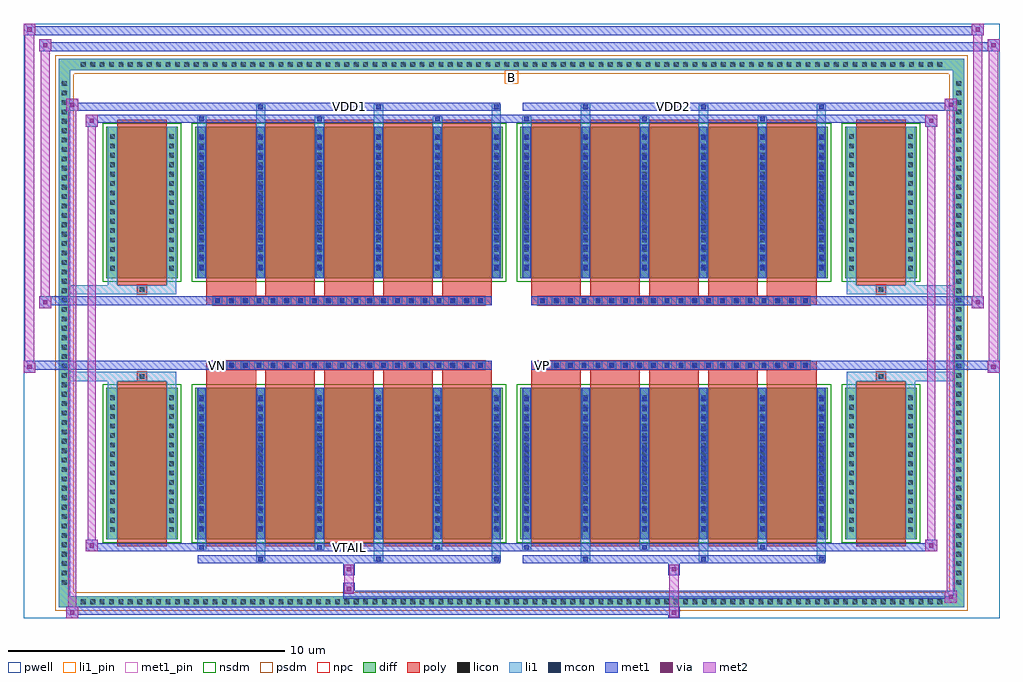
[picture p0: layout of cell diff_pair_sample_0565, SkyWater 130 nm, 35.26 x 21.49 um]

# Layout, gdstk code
import gdstk
lib = gdstk.Library(unit=1e-6, precision=5e-09)
def R(c, l, rs):  # rectangles x0, y0, x1, y1
    for r in rs: c.add(gdstk.rectangle(r[:2], r[2:], *l))
def A(c, l, x, y, w, h, nx, ny, dx, dy):  # array of equal rectangles
    R(c, l, [(x+i*dx, y+j*dy, x+i*dx+w, y+j*dy+h) for i in range(nx) for j in range(ny)])
def P(c, l, *ps):  # polygons
    for p in ps: c.add(gdstk.Polygon(p, *l))
pwell = (64, 44)
diff = (65, 20)
poly = (66, 20)
licon = (66, 44)
li1_pin = (67, 16)
li1 = (67, 20)
mcon = (67, 44)
met1_pin = (68, 16)
met1 = (68, 20)
via = (68, 44)
met2 = (69, 20)
nsdm = (93, 44)
psdm = (94, 20)
npc = (95, 20)

diff_pair_sample_0565 = lib.new_cell('diff_pair_sample_0565')
R(diff_pair_sample_0565, pwell, [(-17.63,-10.31,17.63,11.18), (-14.95,-8.5,-0.01,-0.8), (0.01,-8.5,14.95,-0.8), (-14.95,0.8,-0.01,8.5), (0.01,0.8,14.95,8.5)])
A(diff_pair_sample_0565, diff, -15.675, -9.91, 0.41, 0.41, 92, 2, 0.34, 19.41)
A(diff_pair_sample_0565, diff, -16.36, -9.215, 0.41, 0.41, 1, 54, 0, 0.34)
A(diff_pair_sample_0565, diff, 15.95, -9.215, 0.41, 0.41, 1, 54, 0, 0.34)
R(diff_pair_sample_0565, diff, [(-15.675,-9.91,15.675,-9.5), (-16.36,-9.215,-15.95,9.215), (15.95,-9.215,16.36,9.215), (-14.64,-7.455,-12.06,-1.985), (-11.42,-7.455,-0.32,-1.985), (0.32,-7.455,11.42,-1.985), (12.06,-7.455,14.64,-1.985), (-14.64,1.985,-12.06,7.455), (-11.42,1.985,-0.32,7.455), (0.32,1.985,11.42,7.455), (12.06,1.985,14.64,7.455), (-15.675,9.5,15.675,9.91)])
P(diff_pair_sample_0565, diff, [(16.36,9.91),(-16.36,9.91),(-16.36,-9.5),(-15.95,-9.5),(-15.95,9.5),(15.95,9.5),(15.95,-9.5),(-15.95,-9.5),(-16.36,-9.5),(-16.36,-9.91),(16.36,-9.91)])
A(diff_pair_sample_0565, poly, -11.03, -7.705, 1.8, 5.97, 5, 2, 2.13, 9.44)
A(diff_pair_sample_0565, poly, 0.71, -7.705, 1.8, 5.97, 5, 2, 2.13, 9.44)
A(diff_pair_sample_0565, poly, -11.03, -1.735, 1.8, 0.405, 5, 2, 2.13, 3.065)
A(diff_pair_sample_0565, poly, 0.71, -1.735, 1.8, 0.405, 5, 2, 2.13, 3.065)
A(diff_pair_sample_0565, poly, -10.785, -1.33, 0.33, 0.33, 20, 2, 0.5, 2.33)
A(diff_pair_sample_0565, poly, 0.955, -1.33, 0.33, 0.33, 20, 2, 0.5, 2.33)
R(diff_pair_sample_0565, poly, [(-14.25,-7.705,-12.45,-1.735), (12.45,-7.705,14.25,-1.735), (-13.515,-1.735,-13.185,-1.405), (-13.515,-1.735,-13.185,-1.405), (13.185,-1.735,13.515,-1.405), (13.185,-1.735,13.515,-1.405), (-11.03,-1.33,-0.71,-1), (0.71,-1.33,11.03,-1), (-11.03,1,-0.71,1.33), (0.71,1,11.03,1.33), (-13.515,1.405,-13.185,1.735), (-13.515,1.405,-13.185,1.735), (13.185,1.405,13.515,1.735), (13.185,1.405,13.515,1.735), (-14.25,1.735,-12.45,7.705), (12.45,1.735,14.25,7.705)])
A(diff_pair_sample_0565, licon, -15.555, -9.79, 0.17, 0.17, 92, 2, 0.34, 19.41)
A(diff_pair_sample_0565, licon, -16.24, -9.095, 0.17, 0.17, 1, 54, 0, 0.34)
A(diff_pair_sample_0565, licon, 16.07, -9.095, 0.17, 0.17, 1, 54, 0, 0.34)
A(diff_pair_sample_0565, licon, -14.5, -7.185, 0.17, 0.17, 1, 15, 0, 0.34)
A(diff_pair_sample_0565, licon, -12.37, -7.185, 0.17, 0.17, 1, 15, 0, 0.34)
A(diff_pair_sample_0565, licon, -11.28, -7.185, 0.17, 0.17, 6, 15, 2.13, 0.34)
A(diff_pair_sample_0565, licon, 0.46, -7.185, 0.17, 0.17, 6, 15, 2.13, 0.34)
A(diff_pair_sample_0565, licon, 12.2, -7.185, 0.17, 0.17, 1, 15, 0, 0.34)
A(diff_pair_sample_0565, licon, 14.33, -7.185, 0.17, 0.17, 1, 15, 0, 0.34)
A(diff_pair_sample_0565, licon, -10.705, -1.25, 0.17, 0.17, 20, 2, 0.5, 2.33)
A(diff_pair_sample_0565, licon, 1.035, -1.25, 0.17, 0.17, 20, 2, 0.5, 2.33)
A(diff_pair_sample_0565, licon, -14.5, 2.255, 0.17, 0.17, 1, 15, 0, 0.34)
A(diff_pair_sample_0565, licon, -12.37, 2.255, 0.17, 0.17, 1, 15, 0, 0.34)
A(diff_pair_sample_0565, licon, -11.28, 2.255, 0.17, 0.17, 6, 15, 2.13, 0.34)
A(diff_pair_sample_0565, licon, 0.46, 2.255, 0.17, 0.17, 6, 15, 2.13, 0.34)
A(diff_pair_sample_0565, licon, 12.2, 2.255, 0.17, 0.17, 1, 15, 0, 0.34)
A(diff_pair_sample_0565, licon, 14.33, 2.255, 0.17, 0.17, 1, 15, 0, 0.34)
R(diff_pair_sample_0565, licon, [(-13.435,-1.655,-13.265,-1.485), (13.265,-1.655,13.435,-1.485), (-13.435,1.485,-13.265,1.655), (13.265,1.485,13.435,1.655)])
R(diff_pair_sample_0565, li1_pin, [(-0.25,9,0.25,9.5)])
A(diff_pair_sample_0565, li1, -15.635, -9.87, 0.33, 0.33, 92, 2, 0.34, 19.41)
A(diff_pair_sample_0565, li1, -16.32, -9.175, 0.33, 0.33, 1, 54, 0, 0.34)
A(diff_pair_sample_0565, li1, 15.99, -9.175, 0.33, 0.33, 1, 54, 0, 0.34)
A(diff_pair_sample_0565, li1, -9.23, -8.26, 0.33, 0.805, 3, 2, 4.26, 15.715)
A(diff_pair_sample_0565, li1, -9.15, -8.26, 0.17, 0.17, 3, 2, 4.26, 16.35)
A(diff_pair_sample_0565, li1, 2.51, -8.26, 0.33, 0.805, 3, 2, 4.26, 15.715)
A(diff_pair_sample_0565, li1, 2.59, -8.26, 0.17, 0.17, 3, 2, 4.26, 16.35)
A(diff_pair_sample_0565, li1, -11.36, -7.83, 0.33, 0.375, 3, 2, 4.26, 15.285)
A(diff_pair_sample_0565, li1, -11.28, -7.83, 0.17, 0.17, 3, 2, 4.26, 15.49)
A(diff_pair_sample_0565, li1, 0.38, -7.83, 0.33, 0.375, 3, 2, 4.26, 15.285)
A(diff_pair_sample_0565, li1, 0.46, -7.83, 0.17, 0.17, 3, 2, 4.26, 15.49)
A(diff_pair_sample_0565, li1, -11.36, -7.455, 0.33, 5.47, 6, 2, 2.13, 9.44)
A(diff_pair_sample_0565, li1, 0.38, -7.455, 0.33, 5.47, 6, 2, 2.13, 9.44)
A(diff_pair_sample_0565, li1, -14.58, -7.265, 0.33, 0.33, 1, 15, 0, 0.34)
A(diff_pair_sample_0565, li1, -12.45, -7.265, 0.33, 0.33, 1, 15, 0, 0.34)
A(diff_pair_sample_0565, li1, -11.36, -7.265, 0.33, 0.33, 6, 15, 2.13, 0.34)
A(diff_pair_sample_0565, li1, 0.38, -7.265, 0.33, 0.33, 6, 15, 2.13, 0.34)
A(diff_pair_sample_0565, li1, 12.12, -7.265, 0.33, 0.33, 1, 15, 0, 0.34)
A(diff_pair_sample_0565, li1, 14.25, -7.265, 0.33, 0.33, 1, 15, 0, 0.34)
A(diff_pair_sample_0565, li1, -11.28, -7.145, 0.17, 0.17, 6, 14, 2.13, 0.36)
A(diff_pair_sample_0565, li1, -11.28, -7.145, 0.17, 4.85, 6, 2, 2.13, 9.44)
A(diff_pair_sample_0565, li1, 0.46, -7.145, 0.17, 0.17, 6, 14, 2.13, 0.36)
A(diff_pair_sample_0565, li1, 0.46, -7.145, 0.17, 4.85, 6, 2, 2.13, 9.44)
A(diff_pair_sample_0565, li1, -10.785, -1.33, 0.33, 0.33, 20, 2, 0.5, 2.33)
A(diff_pair_sample_0565, li1, 0.955, -1.33, 0.33, 0.33, 20, 2, 0.5, 2.33)
A(diff_pair_sample_0565, li1, -14.58, 2.175, 0.33, 0.33, 1, 15, 0, 0.34)
A(diff_pair_sample_0565, li1, -12.45, 2.175, 0.33, 0.33, 1, 15, 0, 0.34)
A(diff_pair_sample_0565, li1, -11.36, 2.175, 0.33, 0.33, 6, 15, 2.13, 0.34)
A(diff_pair_sample_0565, li1, 0.38, 2.175, 0.33, 0.33, 6, 15, 2.13, 0.34)
A(diff_pair_sample_0565, li1, 12.12, 2.175, 0.33, 0.33, 1, 15, 0, 0.34)
A(diff_pair_sample_0565, li1, 14.25, 2.175, 0.33, 0.33, 1, 15, 0, 0.34)
A(diff_pair_sample_0565, li1, -11.28, 2.295, 0.17, 0.17, 6, 14, 2.13, 0.36)
A(diff_pair_sample_0565, li1, 0.46, 2.295, 0.17, 0.17, 6, 14, 2.13, 0.36)
R(diff_pair_sample_0565, li1, [(-16.36,-9.91,-15.95,-9.5), (-16.36,-9.91,-15.95,-9.5), (-15.95,-9.91,15.95,-9.5), (15.95,-9.91,16.36,-9.5), (15.95,-9.91,16.36,-9.5), (-16.36,-9.5,-15.95,9.5), (15.95,-9.5,16.36,9.5), (-14.58,-7.455,-14.25,-1.985), (-12.45,-7.455,-12.12,-1.985), (12.12,-7.455,12.45,-1.985), (14.25,-7.455,14.58,-1.985), (-14.58,-1.985,-14.25,-1.405), (-12.45,-1.985,-12.12,-1.405), (12.12,-1.985,12.45,-1.405), (14.25,-1.985,14.58,-1.405), (-16.36,-1.735,-13.515,-1.405), (-14.58,-1.735,-13.515,-1.405), (-13.515,-1.735,-13.185,-1.405), (-13.185,-1.735,-12.12,-1.405), (12.12,-1.735,13.185,-1.405), (13.185,-1.735,13.515,-1.405), (13.185,-1.735,16.36,-1.405), (13.515,-1.735,14.58,-1.405), (-16.36,1.405,-13.515,1.735), (-14.58,1.405,-13.515,1.735), (-14.58,1.405,-14.25,1.985), (-13.515,1.405,-13.185,1.735), (-13.185,1.405,-12.12,1.735), (-12.45,1.405,-12.12,1.985), (12.12,1.405,13.185,1.735), (12.12,1.405,12.45,1.985), (13.185,1.405,13.515,1.735), (13.185,1.405,16.36,1.735), (13.515,1.405,14.58,1.735), (14.25,1.405,14.58,1.985), (-14.58,1.985,-14.25,7.455), (-12.45,1.985,-12.12,7.455), (12.12,1.985,12.45,7.455), (14.25,1.985,14.58,7.455), (-16.36,9.5,-15.95,9.91), (-16.36,9.5,-15.95,9.91), (-15.95,9.5,15.95,9.91), (15.95,9.5,16.36,9.91), (15.95,9.5,16.36,9.91)])
A(diff_pair_sample_0565, mcon, -9.15, -8.26, 0.17, 0.17, 3, 2, 4.26, 16.35)
A(diff_pair_sample_0565, mcon, 2.59, -8.26, 0.17, 0.17, 3, 2, 4.26, 16.35)
A(diff_pair_sample_0565, mcon, -11.28, -7.83, 0.17, 0.17, 3, 2, 4.26, 15.49)
A(diff_pair_sample_0565, mcon, 0.46, -7.83, 0.17, 0.17, 3, 2, 4.26, 15.49)
A(diff_pair_sample_0565, mcon, -11.28, -7.145, 0.17, 0.17, 6, 14, 2.13, 0.36)
A(diff_pair_sample_0565, mcon, 0.46, -7.145, 0.17, 0.17, 6, 14, 2.13, 0.36)
A(diff_pair_sample_0565, mcon, -10.705, -1.25, 0.17, 0.17, 20, 2, 0.5, 2.33)
A(diff_pair_sample_0565, mcon, 1.035, -1.25, 0.17, 0.17, 20, 2, 0.5, 2.33)
A(diff_pair_sample_0565, mcon, -11.28, 2.295, 0.17, 0.17, 6, 14, 2.13, 0.36)
A(diff_pair_sample_0565, mcon, 0.46, 2.295, 0.17, 0.17, 6, 14, 2.13, 0.36)
R(diff_pair_sample_0565, met1_pin, [(-6.005,-7.87,-5.735,-7.6), (-10.755,-1.29,-10.485,-1.02), (0.985,-1.29,1.255,-1.02), (-6.005,8.05,-5.735,8.32), (5.735,8.05,6.005,8.32)])
A(diff_pair_sample_0565, met1, -9.21, -8.32, 0.29, 0.29, 3, 2, 4.26, 16.35)
A(diff_pair_sample_0565, met1, 2.53, -8.32, 0.29, 0.29, 3, 2, 4.26, 16.35)
A(diff_pair_sample_0565, met1, -11.34, -7.89, 0.29, 0.29, 3, 2, 4.26, 15.49)
A(diff_pair_sample_0565, met1, 0.4, -7.89, 0.29, 0.29, 3, 2, 4.26, 15.49)
A(diff_pair_sample_0565, met1, -11.34, -7.455, 0.29, 5.47, 6, 2, 2.13, 9.44)
A(diff_pair_sample_0565, met1, 0.4, -7.455, 0.29, 5.47, 6, 2, 2.13, 9.44)
A(diff_pair_sample_0565, met1, -11.34, -7.205, 0.29, 0.29, 6, 14, 2.13, 0.36)
A(diff_pair_sample_0565, met1, 0.4, -7.205, 0.29, 0.29, 6, 14, 2.13, 0.36)
A(diff_pair_sample_0565, met1, -10.765, -1.31, 0.29, 0.29, 20, 2, 0.5, 2.33)
A(diff_pair_sample_0565, met1, 0.975, -1.31, 0.29, 0.29, 20, 2, 0.5, 2.33)
A(diff_pair_sample_0565, met1, -11.34, 2.235, 0.29, 0.29, 6, 14, 2.13, 0.36)
A(diff_pair_sample_0565, met1, 0.4, 2.235, 0.29, 0.29, 6, 14, 2.13, 0.36)
R(diff_pair_sample_0565, met1, [(-16.09,-10.31,-15.66,-9.88), (5.655,-10.31,6.085,-9.88), (-16.09,-10.17,6.085,-9.88), (15.66,-9.74,16.09,-9.31), (-6.085,-9.6,16.09,-9.31), (-6.085,-9.46,-5.655,-9.03), (-6.085,-8.75,-5.655,-8.32), (5.655,-8.75,6.085,-8.32), (-11.34,-8.32,-0.4,-8.03), (0.4,-8.32,11.34,-8.03), (-15.38,-7.89,-14.95,-7.46), (-15.38,-7.89,-11.34,-7.6), (-11.34,-7.89,-0.4,-7.6), (-0.4,-7.89,0.4,-7.6), (0.4,-7.89,11.34,-7.6), (11.34,-7.89,15.38,-7.6), (14.95,-7.89,15.38,-7.46), (-17.63,-1.43,-17.2,-1), (17.2,-1.43,17.63,-1), (-17.63,-1.33,-0.71,-1), (-11.03,-1.33,-0.71,-1), (0.71,-1.33,11.03,-1), (0.71,-1.33,17.63,-1), (-17.06,0.9,-16.63,1.33), (16.63,0.9,17.06,1.33), (-17.06,1,-11.03,1.33), (-11.03,1,-0.71,1.33), (0.71,1,11.03,1.33), (11.03,1,17.06,1.33), (-15.38,7.46,-14.95,7.89), (14.95,7.46,15.38,7.89), (-15.38,7.6,-11.34,7.89), (-11.34,7.6,-0.4,7.89), (-0.4,7.6,0.4,7.89), (0.4,7.6,11.34,7.89), (11.34,7.6,15.38,7.89), (-16.09,8.03,-15.66,8.46), (-16.09,8.03,-11.34,8.32), (-11.34,8.03,-0.4,8.32), (0.4,8.03,11.34,8.32), (11.34,8.03,16.09,8.32), (15.66,8.03,16.09,8.46), (-17.06,10.18,-16.63,10.61), (-17.06,10.18,-14.95,10.51), (-14.95,10.18,14.95,10.51), (14.95,10.18,17.63,10.51), (17.2,10.18,17.63,10.61), (-17.63,10.75,-17.2,11.18), (-17.63,10.75,-14.95,11.08), (-14.95,10.75,14.95,11.08), (14.95,10.75,17.06,11.08), (16.63,10.75,17.06,11.18)])
R(diff_pair_sample_0565, via, [(-15.95,-10.17,-15.8,-10.02), (5.795,-10.17,5.945,-10.02), (15.8,-9.6,15.95,-9.45), (-5.945,-9.32,-5.795,-9.17), (-5.945,-8.61,-5.795,-8.46), (5.795,-8.61,5.945,-8.46), (-15.24,-7.75,-15.09,-7.6), (15.09,-7.75,15.24,-7.6), (-17.49,-1.29,-17.34,-1.14), (17.34,-1.29,17.49,-1.14), (-16.92,1.04,-16.77,1.19), (16.77,1.04,16.92,1.19), (-15.24,7.6,-15.09,7.75), (15.09,7.6,15.24,7.75), (-15.95,8.17,-15.8,8.32), (15.8,8.17,15.95,8.32), (-16.92,10.32,-16.77,10.47), (17.34,10.32,17.49,10.47), (-17.49,10.89,-17.34,11.04), (16.77,10.89,16.92,11.04)])
R(diff_pair_sample_0565, met2, [(-16.09,-10.31,-15.66,-9.88), (-16.02,-10.31,-15.73,8.46), (-15.73,-10.31,-15.66,-9.88), (-16.04,-10.26,-15.71,-9.93), (5.705,-10.26,6.035,-9.93), (5.705,-9.93,6.035,-8.7), (15.66,-9.74,16.09,-9.31), (15.73,-9.74,16.02,8.46), (16.02,-9.74,16.09,-9.31), (15.71,-9.69,16.04,-9.36), (-6.035,-9.41,-5.705,-9.08), (-6.035,-9.08,-5.705,-8.7), (-6.035,-8.7,-5.705,-8.37), (5.705,-8.7,6.035,-8.37), (-15.38,-7.89,-14.95,-7.46), (-15.31,-7.89,-15.02,7.89), (-15.02,-7.89,-14.95,-7.46), (14.95,-7.89,15.38,-7.46), (15.02,-7.89,15.31,7.89), (15.31,-7.89,15.38,-7.46), (-15.33,-7.84,-15,-7.51), (15,-7.84,15.33,-7.51), (-17.63,-1.43,-17.2,-1), (-17.58,-1.43,-17.25,11.18), (-17.25,-1.43,-17.2,-1), (17.2,-1.43,17.63,-1), (17.25,-1.43,17.58,10.61), (17.58,-1.43,17.63,-1), (-17.58,-1.38,-17.25,-1.05), (17.25,-1.38,17.58,-1.05), (-17.06,0.9,-16.63,1.33), (-17.01,0.9,-16.68,10.61), (-16.68,0.9,-16.63,1.33), (16.63,0.9,17.06,1.33), (16.68,0.9,17.01,11.18), (17.01,0.9,17.06,1.33), (-17.01,0.95,-16.68,1.28), (16.68,0.95,17.01,1.28), (-15.38,7.46,-14.95,7.89), (-15.02,7.46,-14.95,7.89), (14.95,7.46,15.38,7.89), (15.31,7.46,15.38,7.89), (-15.33,7.51,-15,7.84), (15,7.51,15.33,7.84), (-16.09,8.03,-15.66,8.46), (-15.73,8.03,-15.66,8.46), (15.66,8.03,16.09,8.46), (16.02,8.03,16.09,8.46), (-16.04,8.08,-15.71,8.41), (15.71,8.08,16.04,8.41), (-17.06,10.18,-16.63,10.61), (-16.68,10.18,-16.63,10.61), (17.2,10.18,17.63,10.61), (17.58,10.18,17.63,10.61), (-17.01,10.23,-16.68,10.56), (17.25,10.23,17.58,10.56), (-17.63,10.75,-17.2,11.18), (-17.25,10.75,-17.2,11.18), (16.63,10.75,17.06,11.18), (17.01,10.75,17.06,11.18), (-17.58,10.8,-17.25,11.13), (16.68,10.8,17.01,11.13)])
R(diff_pair_sample_0565, nsdm, [(-14.77,-7.585,-11.93,-1.855), (-11.55,-7.585,-0.19,-1.855), (0.19,-7.585,11.55,-1.855), (11.93,-7.585,14.77,-1.855), (-14.77,1.855,-11.93,7.585), (-11.55,1.855,-0.19,7.585), (0.19,1.855,11.55,7.585), (11.93,1.855,14.77,7.585)])
P(diff_pair_sample_0565, psdm, [(16.49,10.04),(-16.49,10.04),(-16.49,-9.37),(-15.82,-9.37),(-15.82,9.37),(15.82,9.37),(15.82,-9.37),(-15.82,-9.37),(-16.49,-9.37),(-16.49,-10.04),(16.49,-10.04)])
A(diff_pair_sample_0565, npc, -10.805, -1.35, 0.37, 0.37, 20, 2, 0.5, 2.33)
A(diff_pair_sample_0565, npc, 0.935, -1.35, 0.37, 0.37, 20, 2, 0.5, 2.33)
R(diff_pair_sample_0565, npc, [(-13.535,-1.755,-13.165,-1.385), (13.165,-1.755,13.535,-1.385), (-10.805,-1.35,-9.935,-0.98), (-10.805,-1.35,-9.935,-0.98), (-10.305,-1.35,-9.435,-0.98), (-10.305,-1.35,-9.435,-0.98), (-9.805,-1.35,-8.935,-0.98), (-9.805,-1.35,-8.935,-0.98), (-9.305,-1.35,-8.435,-0.98), (-9.305,-1.35,-8.435,-0.98), (-8.805,-1.35,-7.935,-0.98), (-8.805,-1.35,-7.935,-0.98), (-8.305,-1.35,-7.435,-0.98), (-8.305,-1.35,-7.435,-0.98), (-7.805,-1.35,-6.935,-0.98), (-7.805,-1.35,-6.935,-0.98), (-7.305,-1.35,-6.435,-0.98), (-7.305,-1.35,-6.435,-0.98), (-6.805,-1.35,-5.935,-0.98), (-6.805,-1.35,-5.935,-0.98), (-6.305,-1.35,-5.435,-0.98), (-6.305,-1.35,-5.435,-0.98), (-5.805,-1.35,-4.935,-0.98), (-5.805,-1.35,-4.935,-0.98), (-5.305,-1.35,-4.435,-0.98), (-5.305,-1.35,-4.435,-0.98), (-4.805,-1.35,-3.935,-0.98), (-4.805,-1.35,-3.935,-0.98), (-4.305,-1.35,-3.435,-0.98), (-4.305,-1.35,-3.435,-0.98), (-3.805,-1.35,-2.935,-0.98), (-3.805,-1.35,-2.935,-0.98), (-3.305,-1.35,-2.435,-0.98), (-3.305,-1.35,-2.435,-0.98), (-2.805,-1.35,-1.935,-0.98), (-2.805,-1.35,-1.935,-0.98), (-2.305,-1.35,-1.435,-0.98), (-2.305,-1.35,-1.435,-0.98), (-1.805,-1.35,-0.935,-0.98), (-1.805,-1.35,-0.935,-0.98), (0.935,-1.35,1.805,-0.98), (0.935,-1.35,1.805,-0.98), (1.435,-1.35,2.305,-0.98), (1.435,-1.35,2.305,-0.98), (1.935,-1.35,2.805,-0.98), (1.935,-1.35,2.805,-0.98), (2.435,-1.35,3.305,-0.98), (2.435,-1.35,3.305,-0.98), (2.935,-1.35,3.805,-0.98), (2.935,-1.35,3.805,-0.98), (3.435,-1.35,4.305,-0.98), (3.435,-1.35,4.305,-0.98), (3.935,-1.35,4.805,-0.98), (3.935,-1.35,4.805,-0.98), (4.435,-1.35,5.305,-0.98), (4.435,-1.35,5.305,-0.98), (4.935,-1.35,5.805,-0.98), (4.935,-1.35,5.805,-0.98), (5.435,-1.35,6.305,-0.98), (5.435,-1.35,6.305,-0.98), (5.935,-1.35,6.805,-0.98), (5.935,-1.35,6.805,-0.98), (6.435,-1.35,7.305,-0.98), (6.435,-1.35,7.305,-0.98), (6.935,-1.35,7.805,-0.98), (6.935,-1.35,7.805,-0.98), (7.435,-1.35,8.305,-0.98), (7.435,-1.35,8.305,-0.98), (7.935,-1.35,8.805,-0.98), (7.935,-1.35,8.805,-0.98), (8.435,-1.35,9.305,-0.98), (8.435,-1.35,9.305,-0.98), (8.935,-1.35,9.805,-0.98), (8.935,-1.35,9.805,-0.98), (9.435,-1.35,10.305,-0.98), (9.435,-1.35,10.305,-0.98), (9.935,-1.35,10.805,-0.98), (9.935,-1.35,10.805,-0.98), (-10.805,0.98,-9.935,1.35), (-10.805,0.98,-9.935,1.35), (-10.305,0.98,-9.435,1.35), (-10.305,0.98,-9.435,1.35), (-9.805,0.98,-8.935,1.35), (-9.805,0.98,-8.935,1.35), (-9.305,0.98,-8.435,1.35), (-9.305,0.98,-8.435,1.35), (-8.805,0.98,-7.935,1.35), (-8.805,0.98,-7.935,1.35), (-8.305,0.98,-7.435,1.35), (-8.305,0.98,-7.435,1.35), (-7.805,0.98,-6.935,1.35), (-7.805,0.98,-6.935,1.35), (-7.305,0.98,-6.435,1.35), (-7.305,0.98,-6.435,1.35), (-6.805,0.98,-5.935,1.35), (-6.805,0.98,-5.935,1.35), (-6.305,0.98,-5.435,1.35), (-6.305,0.98,-5.435,1.35), (-5.805,0.98,-4.935,1.35), (-5.805,0.98,-4.935,1.35), (-5.305,0.98,-4.435,1.35), (-5.305,0.98,-4.435,1.35), (-4.805,0.98,-3.935,1.35), (-4.805,0.98,-3.935,1.35), (-4.305,0.98,-3.435,1.35), (-4.305,0.98,-3.435,1.35), (-3.805,0.98,-2.935,1.35), (-3.805,0.98,-2.935,1.35), (-3.305,0.98,-2.435,1.35), (-3.305,0.98,-2.435,1.35), (-2.805,0.98,-1.935,1.35), (-2.805,0.98,-1.935,1.35), (-2.305,0.98,-1.435,1.35), (-2.305,0.98,-1.435,1.35), (-1.805,0.98,-0.935,1.35), (-1.805,0.98,-0.935,1.35), (0.935,0.98,1.805,1.35), (0.935,0.98,1.805,1.35), (1.435,0.98,2.305,1.35), (1.435,0.98,2.305,1.35), (1.935,0.98,2.805,1.35), (1.935,0.98,2.805,1.35), (2.435,0.98,3.305,1.35), (2.435,0.98,3.305,1.35), (2.935,0.98,3.805,1.35), (2.935,0.98,3.805,1.35), (3.435,0.98,4.305,1.35), (3.435,0.98,4.305,1.35), (3.935,0.98,4.805,1.35), (3.935,0.98,4.805,1.35), (4.435,0.98,5.305,1.35), (4.435,0.98,5.305,1.35), (4.935,0.98,5.805,1.35), (4.935,0.98,5.805,1.35), (5.435,0.98,6.305,1.35), (5.435,0.98,6.305,1.35), (5.935,0.98,6.805,1.35), (5.935,0.98,6.805,1.35), (6.435,0.98,7.305,1.35), (6.435,0.98,7.305,1.35), (6.935,0.98,7.805,1.35), (6.935,0.98,7.805,1.35), (7.435,0.98,8.305,1.35), (7.435,0.98,8.305,1.35), (7.935,0.98,8.805,1.35), (7.935,0.98,8.805,1.35), (8.435,0.98,9.305,1.35), (8.435,0.98,9.305,1.35), (8.935,0.98,9.805,1.35), (8.935,0.98,9.805,1.35), (9.435,0.98,10.305,1.35), (9.435,0.98,10.305,1.35), (9.935,0.98,10.805,1.35), (9.935,0.98,10.805,1.35), (-13.535,1.385,-13.165,1.755), (13.165,1.385,13.535,1.755)])
diff_pair_sample_0565.add(gdstk.Label('VTAIL', (-5.87,-7.735), layer=68, texttype=5))
diff_pair_sample_0565.add(gdstk.Label('VN', (-10.62,-1.155), layer=68, texttype=5))
diff_pair_sample_0565.add(gdstk.Label('VP', (1.12,-1.155), layer=68, texttype=5))
diff_pair_sample_0565.add(gdstk.Label('B', (0,9.25), layer=67, texttype=5))
diff_pair_sample_0565.add(gdstk.Label('VDD2', (5.87,8.185), layer=68, texttype=5))
diff_pair_sample_0565.add(gdstk.Label('VDD1', (-5.87,8.185), layer=68, texttype=5))

lib.write_gds('diff_pair_sample_0565.gds')
